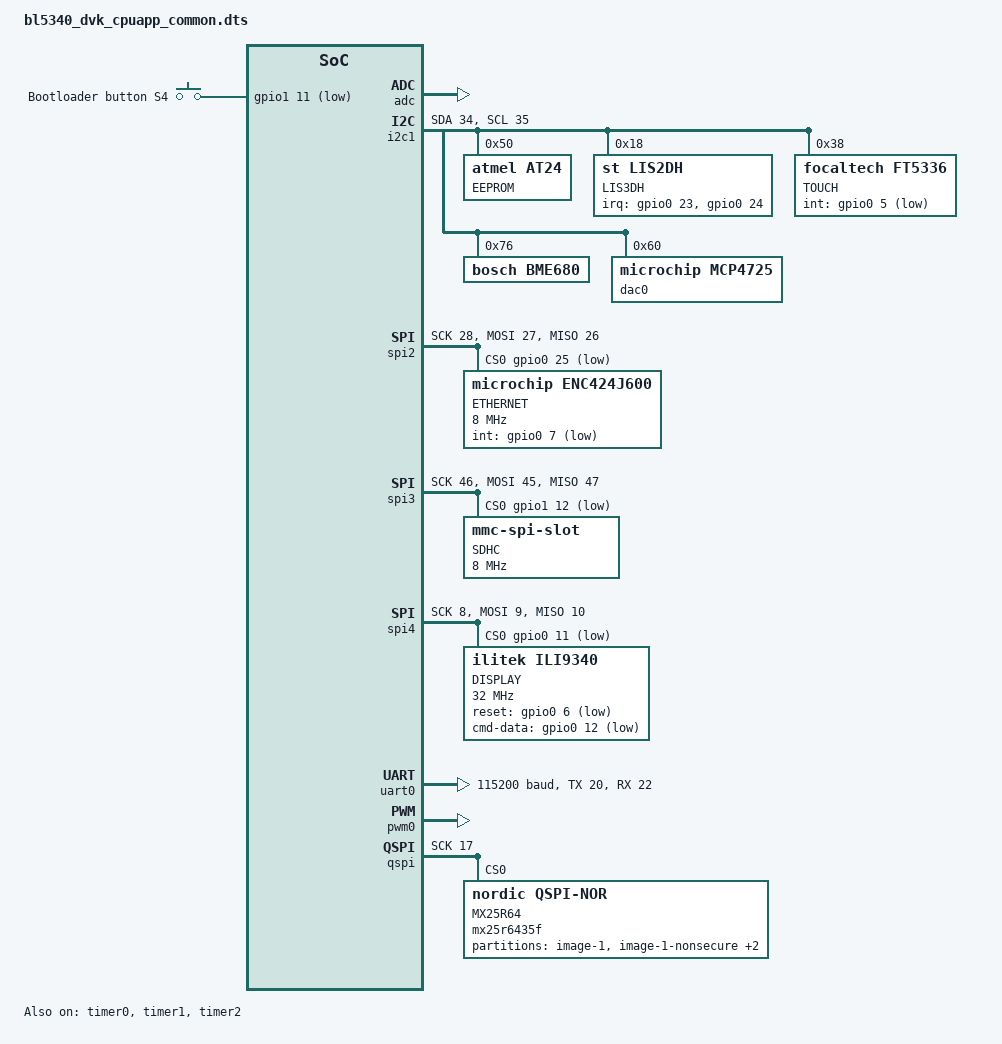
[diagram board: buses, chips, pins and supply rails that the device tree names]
/*
 * Copyright (c) 2019-2020 Nordic Semiconductor ASA
 * Copyright (c) 2021 Laird Connectivity
 *
 * SPDX-License-Identifier: Apache-2.0
 */

/ {
	chosen {
		zephyr,console = &uart0;
		zephyr,shell-uart = &uart0;
		zephyr,uart-mcumgr = &uart0;
		zephyr,bt-mon-uart = &uart0;
		zephyr,bt-c2h-uart = &uart0;
	};

	buttons {
		compatible = "gpio-keys";
		boot_button0: boot_button {
			gpios = <&gpio1 11 GPIO_ACTIVE_LOW>;
			label = "Bootloader button S4";
		};
	};

	/* These aliases are provided for compatibility with samples */
	aliases {
		sw0 = &boot_button0;
	};
};

&adc {
	status = "okay";
};

&gpiote {
	status = "okay";
};

&gpio0 {
	status = "okay";
};

&gpio1 {
	status = "okay";
};

&i2c1 {
	compatible = "nordic,nrf-twim";
	status = "okay";
	sda-pin = <34>;
	scl-pin = <35>;

	at24c256@50 {
		compatible = "atmel,at24";
		reg = <0x50>;
		label = "EEPROM";
		size = <32768>;
		pagesize = <64>;
		address-width = <16>;
		timeout = <10>;
	};

	lis3dh@18 {
		compatible = "st,lis2dh";
		label = "LIS3DH";
		reg = <0x18>;
		irq-gpios = <&gpio0 23 GPIO_ACTIVE_HIGH>, <&gpio0 24 GPIO_ACTIVE_HIGH>;
	};

	ft5336@38 {
		compatible = "focaltech,ft5336";
		reg = <0x38>;
		label = "TOUCH";
		int-gpios = <&gpio0 5 GPIO_ACTIVE_LOW>;
	};

	bme680@76 {
		compatible = "bosch,bme680";
		reg = <0x76>;
		label = "BME680";
	};

	dac0: mcp4725@60 {
		compatible = "microchip,mcp4725";
		reg = <0x60>;
		label = "dac0";
		#io-channel-cells = <1>;
	};
};

&spi2 {
	compatible = "nordic,nrf-spim";
	status = "okay";
	cs-gpios = <&gpio0 25 GPIO_ACTIVE_LOW>;
	miso-pin = <26>;
	mosi-pin = <27>;
	sck-pin = <28>;

	enc424j600@0 {
		compatible = "microchip,enc424j600";
		reg = <0>;
		spi-max-frequency = <8000000>;
		label = "ETHERNET";
		int-gpios = <&gpio0 7 GPIO_ACTIVE_LOW>;
	};
};

&spi3 {
	compatible = "nordic,nrf-spim";
	status = "okay";
	sck-pin = <46>;
	miso-pin = <47>;
	mosi-pin = <45>;
	cs-gpios = <&gpio1 12 GPIO_ACTIVE_LOW>;

	sdhc@0 {
		compatible = "zephyr,mmc-spi-slot";
		reg = <0>;
		status = "okay";
		label = "SDHC";
		spi-max-frequency = <8000000>;
	};
};

&spi4 {
	compatible = "nordic,nrf-spim";
	status = "okay";
	cs-gpios = <&gpio0 11 GPIO_ACTIVE_LOW>;
	miso-pin = <10>;
	mosi-pin = <9>;
	sck-pin = <8>;

	ili9340@0 {
		compatible = "ilitek,ili9340";
		reg = <0>;
		spi-max-frequency = <32000000>;
		label = "DISPLAY";
		reset-gpios = <&gpio0 6 GPIO_ACTIVE_LOW>;
		cmd-data-gpios = <&gpio0 12 GPIO_ACTIVE_LOW>;
		rotation = <270>;
	};
};

&uart0 {
	status = "okay";
	current-speed = <115200>;
	tx-pin = <20>;
	rx-pin = <22>;
	rts-pin = <19>;
	cts-pin = <21>;
};

&pwm0 {
	status = "okay";
	ch0-pin = <28>;
};

&timer0 {
	status = "okay";
};

&timer1 {
	status = "okay";
};

&timer2 {
	status = "okay";
};

&qspi {
	status = "okay";
	sck-pin = <17>;
	io-pins = <13>, <14>, <15>, <16>;
	csn-pins = <18>;
	mx25r64: mx25r6435f@0 {
		compatible = "nordic,qspi-nor";
		reg = <0>;
		/* MX25R64 supports only pp and pp4io */
		writeoc = "pp4io";
		/* MX25R64 supports all readoc options */
		readoc = "read4io";
		sck-frequency = <8000000>;
		label = "MX25R64";
		jedec-id = [c2 28 17];
		sfdp-bfp = [
			e5 20 f1 ff  ff ff ff 03  44 eb 08 6b  08 3b 04 bb
			ee ff ff ff  ff ff 00 ff  ff ff 00 ff  0c 20 0f 52
			10 d8 00 ff  23 72 f5 00  82 ed 04 cc  44 83 68 44
			30 b0 30 b0  f7 c4 d5 5c  00 be 29 ff  f0 d0 ff ff
		];
		size = <67108864>;
		has-dpd;
		t-enter-dpd = <10000>;
		t-exit-dpd = <35000>;
	};
};

&flash0 {
	partitions {
		compatible = "fixed-partitions";
		#address-cells = <1>;
		#size-cells = <1>;

		/* 64K */
		boot_partition: partition@0 {
			label = "mcuboot";
			reg = <0x00000000 0x00010000>;
		};
		/* 640K */
		slot0_partition: partition@10000 {
			label = "image-0";
		};
		/* 256K */
		slot0_ns_partition: partition@b0000 {
			label = "image-0-nonsecure";
		};

		/*
		 * The flash starting at 0x000f8000 and ending at
		 * 0x000fffff is reserved for use by the application.
		 */

		/*
		 * Storage partition will be used by FCB/NVS
		 * if enabled. 32K
		 */
		storage_partition: partition@f8000 {
			label = "storage";
			reg = <0x000f8000 0x00008000>;
		};
	};
};

&mx25r64 {
	partitions {
		compatible = "fixed-partitions";
		#address-cells = <1>;
		#size-cells = <1>;

		/* 640K */
		slot1_partition: partition@0 {
			label = "image-1";
		};
		/* 256K */
		slot1_ns_partition: partition@A0000 {
			label = "image-1-nonsecure";
		};
		/* 128K */
		scratch_partition: partition@e0000 {
			label = "image-scratch";
			reg = <0x000e0000 0x00020000>;
		};
		/* 7MB */
		lfs_partition: partition@100000 {
			label = "lfs_storage";
			reg = <0x00100000 0x000700000>;
		};
	};
};

/ {
	reserved-memory {
		#address-cells = <1>;
		#size-cells = <1>;
		ranges;

		sram0_image: image@20000000 {
			/* Zephyr image(s) memory */
		};

		sram0_s: image_s@20000000 {
			/* Secure image memory */
		};

		sram0_ns: image_ns@20040000 {
			/* Non-Secure image memory */
		};
	};
};

/* Include partition configuration file */
#include "bl5340_dvk_cpuapp_partition_conf.dts"
